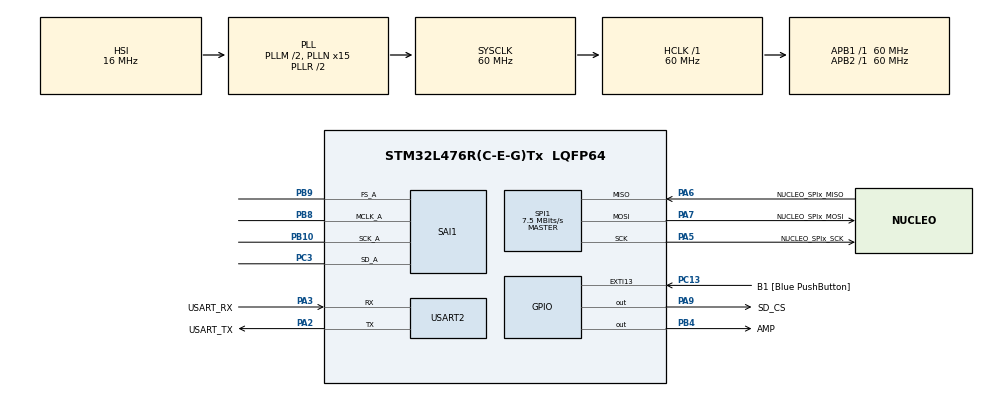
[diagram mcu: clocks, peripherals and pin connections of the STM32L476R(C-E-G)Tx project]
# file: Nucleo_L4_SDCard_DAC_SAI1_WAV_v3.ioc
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Dma.Request0=SAI1_A
Dma.SAI1_A.0.Direction=DMA_MEMORY_TO_PERIPH
Dma.SAI1_A.0.Instance=DMA2_Channel1
Dma.SAI1_A.0.MemDataAlignment=DMA_MDATAALIGN_HALFWORD
Dma.SAI1_A.0.MemInc=DMA_MINC_ENABLE
Dma.SAI1_A.0.Mode=DMA_CIRCULAR
Dma.SAI1_A.0.PeriphDataAlignment=DMA_PDATAALIGN_HALFWORD
Dma.SAI1_A.0.PeriphInc=DMA_PINC_DISABLE
Dma.SAI1_A.0.Priority=DMA_PRIORITY_HIGH
Mcu.Family=STM32L4
Mcu.Name=STM32L476R(C-E-G)Tx
Mcu.Package=LQFP64
NVIC.DMA2_Channel1_IRQn=true\:0\:0\:false\:false\:true\:false\:true
NVIC.PriorityGroup=NVIC_PRIORITYGROUP_4
PA13\ (JTMS-SWDIO).GPIO_Label=TMS
PA13\ (JTMS-SWDIO).Mode=Serial_Wire
PA13\ (JTMS-SWDIO).Signal=SYS_JTMS-SWDIO
PA14\ (JTCK-SWCLK).GPIO_Label=TCK
PA14\ (JTCK-SWCLK).Mode=Serial_Wire
PA14\ (JTCK-SWCLK).Signal=SYS_JTCK-SWCLK
PA2.GPIO_Label=USART_TX
PA2.GPIO_Mode=GPIO_MODE_AF_PP
PA2.GPIO_PuPd=GPIO_NOPULL
PA2.GPIO_Speed=GPIO_SPEED_FREQ_VERY_HIGH
PA2.Mode=Asynchronous
PA2.Signal=USART2_TX
PA3.GPIO_Label=USART_RX
PA3.GPIO_Mode=GPIO_MODE_AF_PP
PA3.GPIO_PuPd=GPIO_NOPULL
PA3.GPIO_Speed=GPIO_SPEED_FREQ_VERY_HIGH
PA3.Mode=Asynchronous
PA3.Signal=USART2_RX
PA5.GPIO_Label=NUCLEO_SPIx_SCK
PA5.Mode=Full_Duplex_Master
PA5.Signal=SPI1_SCK
PA6.GPIO_Label=NUCLEO_SPIx_MISO
PA6.Mode=Full_Duplex_Master
PA6.Signal=SPI1_MISO
PA7.GPIO_Label=NUCLEO_SPIx_MOSI
PA7.Mode=Full_Duplex_Master
PA7.Signal=SPI1_MOSI
PA9.GPIO_Label=SD_CS
PA9.Signal=GPIO_Output
PB10.Mode=SAI_A_MasterWithClock
PB10.Signal=SAI1_SCK_A
PB3\ (JTDO-TRACESWO).Signal=SYS_JTDO-SWO
PB4\ (NJTRST).GPIO_Label=AMP
PB4\ (NJTRST).Signal=GPIO_Output
PB8.Mode=SAI_A_MasterWithClock
PB8.Signal=SAI1_MCLK_A
PB9.Mode=SAI_A_MasterWithClock
PB9.Signal=SAI1_FS_A
PC13.GPIO_Label=B1 [Blue PushButton]
PC13.GPIO_ModeDefaultEXTI=GPIO_MODE_IT_FALLING
PC13.GPIO_PuPd=GPIO_NOPULL
PC13.Signal=GPXTI13
PC14-OSC32_IN\ (PC14).Mode=LSE-External-Oscillator
PC14-OSC32_IN\ (PC14).Signal=RCC_OSC32_IN
PC15-OSC32_OUT\ (PC15).Mode=LSE-External-Oscillator
PC15-OSC32_OUT\ (PC15).Signal=RCC_OSC32_OUT
PC3.Mode=SAI_A_MasterWithClock
PC3.Signal=SAI1_SD_A
PH0-OSC_IN\ (PH0).Signal=RCC_OSC_IN
PH1-OSC_OUT\ (PH1).Signal=RCC_OSC_OUT
ProjectManager.HeapSize=0x200
ProjectManager.StackSize=0x400
ProjectManager.TargetToolchain=STM32CubeIDE
RCC.ADCFreq_Value=96000000
RCC.AHBFreq_Value=60000000
RCC.APB1Freq_Value=60000000
RCC.APB1TimFreq_Value=60000000
RCC.APB2Freq_Value=60000000
RCC.APB2TimFreq_Value=60000000
RCC.CortexFreq_Value=60000000
RCC.HCLKFreq_Value=60000000
RCC.HSE_VALUE=8000000
RCC.HSI_VALUE=16000000
RCC.MSI_VALUE=4000000
RCC.PLLM=2
RCC.PLLN=15
RCC.PLLSAI1N=24
RCC.PLLSAI1P=RCC_PLLP_DIV17
RCC.PLLSAI2N=13
RCC.PLLSAI2P=RCC_PLLP_DIV17
RCC.PLLSourceVirtual=RCC_PLLSOURCE_HSI
RCC.PREFETCH_ENABLE=1
RCC.SYSCLKFreq_VALUE=60000000
RCC.SYSCLKSource=RCC_SYSCLKSOURCE_PLLCLK
RCC.USBFreq_Value=96000000
RCC.VCOOutputFreq_Value=120000000
SAI1.ActiveFrameLength-SAI_A_MasterWithClock=16
SAI1.AudioFrequency-SAI_A_MasterWithClock=SAI_AUDIO_FREQUENCY_44K
SAI1.DataSize-SAI_A_MasterWithClock=SAI_DATASIZE_16
SAI1.ErrorAudioFreq-SAI_A_MasterWithClock=0.26 %
SAI1.FIFOThreshold-SAI_A_MasterWithClock=SAI_FIFOTHRESHOLD_1QF
SAI1.FrameLength-SAI_A_MasterWithClock=32
SAI1.Instance-SAI_A_MasterWithClock=SAI$Index_Block_A
SAI1.MClockEnable-SAI_A_MasterWithClock=SAI_MASTERCLOCK_ENABLE
SAI1.OutputDrive-SAI_A_MasterWithClock=SAI_OUTPUTDRIVE_ENABLE
SAI1.RealAudioFreq-SAI_A_MasterWithClock=44.117 KHz
SAI1.SlotActive-SAI_A_MasterWithClock=0x0000FFFF
SAI1.SlotNumber-SAI_A_MasterWithClock=2
SAI1.VirtualMode-SAI_A_MasterWithClock=VM_MASTER
SAI1.VirtualSlotActive-SAI_A_MasterWithClock=SAI_SLOTACTIVE_ALL
SPI1.BaudRatePrescaler=SPI_BAUDRATEPRESCALER_8
SPI1.CalculateBaudRate=7.5 MBits/s
SPI1.DataSize=SPI_DATASIZE_8BIT
SPI1.Direction=SPI_DIRECTION_2LINES
SPI1.Mode=SPI_MODE_MASTER
SPI1.VirtualType=VM_MASTER
USART2.VirtualMode-Asynchronous=VM_ASYNC
board=NUCLEO-L476RG

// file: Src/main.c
/* USER CODE BEGIN Header */
/**
  ******************************************************************************
  * @file           : main.c
  * @brief          : Main program body
  ******************************************************************************
  * @attention
  *
  * <h2><center>&copy; Copyright (c) 2019 STMicroelectronics.
  * All rights reserved.</center></h2>
  *
  * This software component is licensed by ST under BSD 3-Clause license,
  * the "License"; You may not use this file except in compliance with the
  * License. You may obtain a copy of the License at:
  *                        opensource.org/licenses/BSD-3-Clause
  *
  ******************************************************************************
  */
/* USER CODE END Header */

#include "main.h"

/* USER CODE BEGIN Includes */
/* 1*1000/80e6 = 0.0000125s
  htim6.Init.Prescaler = 0;
  htim6.Init.Period    = 999;
  T = NS * 0.0000125 = 0.0032s avec NS=256
*/
/* tab de sinus sur 10 bits*/
uint16_t sine[]={
		     512, 525, 537, 550, 562, 575, 587, 599, 612, 624, 636, 648, 660, 672, 684, 696,
         708, 719, 730, 742, 753, 764, 775, 785, 796, 806, 816, 826, 836, 846, 855, 864,
         873, 882, 891, 899, 907, 915, 922, 930, 937, 944, 950, 957, 963, 968, 974, 979,
         984, 989, 993, 997,1001,1004,1008,1011,1013,1015,1017,1019,1021,1022,1022,1023,
        1023,1023,1022,1022,1021,1019,1017,1015,1013,1011,1008,1004,1001, 997, 993, 989,
         984, 979, 974, 968, 963, 957, 950, 944, 937, 930, 922, 915, 907, 899, 891, 882,
         873, 864, 855, 846, 836, 826, 816, 806, 796, 785, 775, 764, 753, 742, 730, 719,
         708, 696, 684, 672, 660, 648, 636, 624, 612, 599, 587, 575, 562, 550, 537, 525,
         512, 499, 487, 474, 462, 449, 437, 425, 412, 400, 388, 376, 364, 352, 340, 328,
         316, 305, 294, 282, 271, 260, 249, 239, 228, 218, 208, 198, 188, 178, 169, 160,
         151, 142, 133, 125, 117, 109, 102,  94,  87,  80,  74,  67,  61,  56,  50,  45,
          40,  35,  31,  27,  23,  20,  16,  13,  11,   9,   7,   5,   3,   2,   2,   1,
           1,   1,   2,   2,   3,   5,   7,   9,  11,  13,  16,  20,  23,  27,  31,  35,
          40,  45,  50,  56,  61,  67,  74,  80,  87,  94, 102, 109, 117, 125, 133, 142,
         151, 160, 169, 178, 188, 198, 208, 218, 228, 239, 249, 260, 271, 282, 294, 305,
         316, 328, 340, 352, 364, 376, 388, 400, 412, 425, 437, 449, 462, 474, 487, 499};

//const uint16_t NS=256;
#define NS 256
uint16_t aTxBuffer[NS];

typedef enum {
  SHIELD_NOT_DETECTED = 0,
  SHIELD_DETECTED
}ShieldStatus;

/* Private define ------------------------------------------------------------*/
#define SD_CARD_NOT_FORMATTED                    0
#define SD_CARD_FILE_NOT_SUPPORTED               1
#define SD_CARD_OPEN_FAIL                        2
#define FATFS_NOT_MOUNTED                        3
/* USER CODE END Includes */

/* USER CODE BEGIN PTD */
static void SDCard_Test(void);

/* USER CODE END PTD */

SAI_HandleTypeDef hsai_BlockA1;
DMA_HandleTypeDef hdma_sai1_a;

SPI_HandleTypeDef hspi1;

UART_HandleTypeDef huart2;

/* USER CODE BEGIN PV */
uint8_t BlinkSpeed = 0, str[20];
__IO uint8_t JoystickValue = 0;
char* pDirectoryFiles[MAX_BMP_FILES];
FIL F;     /* File object */
FATFS SD_FatFs;  /* File system object for SD card logical drive */
char SD_Path[4]; /* SD card logical drive path */
static uint8_t buffer[_MAX_SS]; /* a work buffer for the f_mkfs() */

uint8_t SerialFlag = 0;
uint8_t SerialCmd = 0;
/* USER CODE END PV */

void SystemClock_Config(void);
static void MX_GPIO_Init(void);
static void MX_DMA_Init(void);
static void MX_USART2_UART_Init(void);
static void MX_SAI1_Init(void);
static void MX_SPI1_Init(void);
/* USER CODE BEGIN PFP */

#ifdef __GNUC__
  /* With GCC, small printf (option LD Linker->Libraries->Small printf
     set to 'Yes') calls __io_putchar() */
  #define PUTCHAR_PROTOTYPE int __io_putchar(int ch)
#else
  #define PUTCHAR_PROTOTYPE int fputc(int ch, FILE *f)
#endif /* __GNUC__ */

/* Private functions ---------------------------------------------------------*/
/**
  * @brief  Retargets the C library printf function to the USART.
  * @param  None
  * @retval None
  */
PUTCHAR_PROTOTYPE
{
  /* Place your implementation of fputc here */
  /* e.g. write a character to the EVAL_COM1 and Loop until the end of transmission */
  HAL_UART_Transmit(&huart2, (uint8_t *)&ch, 1, 0xFFFF);

  return ch;
}

void HAL_UART_RxCpltCallback(UART_HandleTypeDef *huart);
/* USER CODE END PFP */

int main(void)
{

  /* MCU Configuration--------------------------------------------------------*/

  /* Reset of all peripherals, Initializes the Flash interface and the Systick. */
  HAL_Init();

  /* Configure the system clock */
  SystemClock_Config();

  /* Initialize all configured peripherals */
  MX_GPIO_Init();
  MX_DMA_Init();
  MX_USART2_UART_Init();
  MX_SAI1_Init();
  MX_SPI1_Init();
  /* USER CODE BEGIN 2 */

  printf("start\n");

  SD_IO_Init();

  if(FATFS_LinkDriver(&SD_Driver, SD_Path) == 0)
  {
    /*##-2- Register the file system object to the FatFs module ##############*/
    if(f_mount(&SD_FatFs, (TCHAR const*)SD_Path, 0) != FR_OK)
    {
      /* FatFs Initialization Error */
      Error_Handler();
    }
    else {
//   	  HAL_I2S_DMAStop ( &hi2s3 );
//   	  wave_play_back("africa-toto.WAV"); // mono
      AMP_ENABLE();
      HAL_Delay(300);
  	  wave_play_back("Track1.WAV");
  	  wave_play_back("Track2.WAV");
  	  wave_play_back("Track3.WAV");
  	  wave_play_back("Track4.WAV");
  	  wave_play_back("Track5.WAV");
  	  AMP_DISABLE();
    }
  }

//  WavePlayer_Start("SON.WAV");

  /* USER CODE END 2 */

  /* Infinite loop */
  while (1)
  {

  }
}

void SystemClock_Config(void)
{
  RCC_OscInitTypeDef RCC_OscInitStruct = {0};
  RCC_ClkInitTypeDef RCC_ClkInitStruct = {0};
  RCC_PeriphCLKInitTypeDef PeriphClkInit = {0};

  /** Initializes the CPU, AHB and APB busses clocks
  */
  RCC_OscInitStruct.OscillatorType = RCC_OSCILLATORTYPE_HSI;
  RCC_OscInitStruct.HSIState = RCC_HSI_ON;
  RCC_OscInitStruct.HSICalibrationValue = RCC_HSICALIBRATION_DEFAULT;
  RCC_OscInitStruct.PLL.PLLState = RCC_PLL_ON;
  RCC_OscInitStruct.PLL.PLLSource = RCC_PLLSOURCE_HSI;
  RCC_OscInitStruct.PLL.PLLM = 2;
  RCC_OscInitStruct.PLL.PLLN = 15;
  RCC_OscInitStruct.PLL.PLLP = RCC_PLLP_DIV7;
  RCC_OscInitStruct.PLL.PLLQ = RCC_PLLQ_DIV2;
  RCC_OscInitStruct.PLL.PLLR = RCC_PLLR_DIV2;
  if (HAL_RCC_OscConfig(&RCC_OscInitStruct) != HAL_OK)
  {
    Error_Handler();
  }
  /** Initializes the CPU, AHB and APB busses clocks
  */
  RCC_ClkInitStruct.ClockType = RCC_CLOCKTYPE_HCLK|RCC_CLOCKTYPE_SYSCLK
                              |RCC_CLOCKTYPE_PCLK1|RCC_CLOCKTYPE_PCLK2;
  RCC_ClkInitStruct.SYSCLKSource = RCC_SYSCLKSOURCE_PLLCLK;
  RCC_ClkInitStruct.AHBCLKDivider = RCC_SYSCLK_DIV1;
  RCC_ClkInitStruct.APB1CLKDivider = RCC_HCLK_DIV1;
  RCC_ClkInitStruct.APB2CLKDivider = RCC_HCLK_DIV1;

  if (HAL_RCC_ClockConfig(&RCC_ClkInitStruct, FLASH_LATENCY_3) != HAL_OK)
  {
    Error_Handler();
  }
  PeriphClkInit.PeriphClockSelection = RCC_PERIPHCLK_USART2|RCC_PERIPHCLK_SAI1;
  PeriphClkInit.Usart2ClockSelection = RCC_USART2CLKSOURCE_PCLK1;
  PeriphClkInit.Sai1ClockSelection = RCC_SAI1CLKSOURCE_PLLSAI1;
  PeriphClkInit.PLLSAI1.PLLSAI1Source = RCC_PLLSOURCE_HSI;
  PeriphClkInit.PLLSAI1.PLLSAI1M = 2;
  PeriphClkInit.PLLSAI1.PLLSAI1N = 24;
  PeriphClkInit.PLLSAI1.PLLSAI1P = RCC_PLLP_DIV17;
  PeriphClkInit.PLLSAI1.PLLSAI1Q = RCC_PLLQ_DIV2;
  PeriphClkInit.PLLSAI1.PLLSAI1R = RCC_PLLR_DIV2;
  PeriphClkInit.PLLSAI1.PLLSAI1ClockOut = RCC_PLLSAI1_SAI1CLK;
  if (HAL_RCCEx_PeriphCLKConfig(&PeriphClkInit) != HAL_OK)
  {
    Error_Handler();
  }
  /** Configure the main internal regulator output voltage
  */
  if (HAL_PWREx_ControlVoltageScaling(PWR_REGULATOR_VOLTAGE_SCALE1) != HAL_OK)
  {
    Error_Handler();
  }
}

static void MX_SAI1_Init(void)
{

  hsai_BlockA1.Instance = SAI1_Block_A;
  hsai_BlockA1.Init.Protocol = SAI_FREE_PROTOCOL;
  hsai_BlockA1.Init.AudioMode = SAI_MODEMASTER_TX;
  hsai_BlockA1.Init.DataSize = SAI_DATASIZE_16;
  hsai_BlockA1.Init.FirstBit = SAI_FIRSTBIT_MSB;
  hsai_BlockA1.Init.ClockStrobing = SAI_CLOCKSTROBING_FALLINGEDGE;
  hsai_BlockA1.Init.Synchro = SAI_ASYNCHRONOUS;
  hsai_BlockA1.Init.OutputDrive = SAI_OUTPUTDRIVE_ENABLE;
  hsai_BlockA1.Init.NoDivider = SAI_MASTERDIVIDER_ENABLE;
  hsai_BlockA1.Init.FIFOThreshold = SAI_FIFOTHRESHOLD_1QF;
  hsai_BlockA1.Init.AudioFrequency = SAI_AUDIO_FREQUENCY_44K;
  hsai_BlockA1.Init.SynchroExt = SAI_SYNCEXT_DISABLE;
  hsai_BlockA1.Init.MonoStereoMode = SAI_STEREOMODE;
  hsai_BlockA1.Init.CompandingMode = SAI_NOCOMPANDING;
  hsai_BlockA1.Init.TriState = SAI_OUTPUT_NOTRELEASED;
  hsai_BlockA1.FrameInit.FrameLength = 32;
  hsai_BlockA1.FrameInit.ActiveFrameLength = 16;
  hsai_BlockA1.FrameInit.FSDefinition = SAI_FS_STARTFRAME;
  hsai_BlockA1.FrameInit.FSPolarity = SAI_FS_ACTIVE_LOW;
  hsai_BlockA1.FrameInit.FSOffset = SAI_FS_FIRSTBIT;
  hsai_BlockA1.SlotInit.FirstBitOffset = 0;
  hsai_BlockA1.SlotInit.SlotSize = SAI_SLOTSIZE_DATASIZE;
  hsai_BlockA1.SlotInit.SlotNumber = 2;
  hsai_BlockA1.SlotInit.SlotActive = 0x0000FFFF;
  if (HAL_SAI_Init(&hsai_BlockA1) != HAL_OK)
  {
    Error_Handler();
  }

}

static void MX_SPI1_Init(void)
{

  /* SPI1 parameter configuration*/
  hspi1.Instance = SPI1;
  hspi1.Init.Mode = SPI_MODE_MASTER;
  hspi1.Init.Direction = SPI_DIRECTION_2LINES;
  hspi1.Init.DataSize = SPI_DATASIZE_8BIT;
  hspi1.Init.CLKPolarity = SPI_POLARITY_LOW;
  hspi1.Init.CLKPhase = SPI_PHASE_1EDGE;
  hspi1.Init.NSS = SPI_NSS_SOFT;
  hspi1.Init.BaudRatePrescaler = SPI_BAUDRATEPRESCALER_8;
  hspi1.Init.FirstBit = SPI_FIRSTBIT_MSB;
  hspi1.Init.TIMode = SPI_TIMODE_DISABLE;
  hspi1.Init.CRCCalculation = SPI_CRCCALCULATION_DISABLE;
  hspi1.Init.CRCPolynomial = 7;
  hspi1.Init.CRCLength = SPI_CRC_LENGTH_DATASIZE;
  hspi1.Init.NSSPMode = SPI_NSS_PULSE_ENABLE;
  if (HAL_SPI_Init(&hspi1) != HAL_OK)
  {
    Error_Handler();
  }

}

static void MX_USART2_UART_Init(void)
{

  huart2.Instance = USART2;
  huart2.Init.BaudRate = 115200;
  huart2.Init.WordLength = UART_WORDLENGTH_8B;
  huart2.Init.StopBits = UART_STOPBITS_1;
  huart2.Init.Parity = UART_PARITY_NONE;
  huart2.Init.Mode = UART_MODE_TX_RX;
  huart2.Init.HwFlowCtl = UART_HWCONTROL_NONE;
  huart2.Init.OverSampling = UART_OVERSAMPLING_16;
  huart2.Init.OneBitSampling = UART_ONE_BIT_SAMPLE_DISABLE;
  huart2.AdvancedInit.AdvFeatureInit = UART_ADVFEATURE_NO_INIT;
  if (HAL_UART_Init(&huart2) != HAL_OK)
  {
    Error_Handler();
  }

}

static void MX_DMA_Init(void)
{

  /* DMA controller clock enable */
  __HAL_RCC_DMA2_CLK_ENABLE();

  /* DMA interrupt init */
  /* DMA2_Channel1_IRQn interrupt configuration */
  HAL_NVIC_SetPriority(DMA2_Channel1_IRQn, 0, 0);
  HAL_NVIC_EnableIRQ(DMA2_Channel1_IRQn);

}

static void MX_GPIO_Init(void)
{
  GPIO_InitTypeDef GPIO_InitStruct = {0};

  /* GPIO Ports Clock Enable */
  __HAL_RCC_GPIOC_CLK_ENABLE();
  __HAL_RCC_GPIOH_CLK_ENABLE();
  __HAL_RCC_GPIOA_CLK_ENABLE();
  __HAL_RCC_GPIOB_CLK_ENABLE();

  /*Configure GPIO pin Output Level */
  HAL_GPIO_WritePin(SD_CS_GPIO_Port, SD_CS_Pin, GPIO_PIN_RESET);

  /*Configure GPIO pin Output Level */
  HAL_GPIO_WritePin(AMP_GPIO_Port, AMP_Pin, GPIO_PIN_RESET);

  /*Configure GPIO pin : B1_Pin */
  GPIO_InitStruct.Pin = B1_Pin;
  GPIO_InitStruct.Mode = GPIO_MODE_IT_FALLING;
  GPIO_InitStruct.Pull = GPIO_NOPULL;
  HAL_GPIO_Init(B1_GPIO_Port, &GPIO_InitStruct);

  /*Configure GPIO pin : SD_CS_Pin */
  GPIO_InitStruct.Pin = SD_CS_Pin;
  GPIO_InitStruct.Mode = GPIO_MODE_OUTPUT_PP;
  GPIO_InitStruct.Pull = GPIO_NOPULL;
  GPIO_InitStruct.Speed = GPIO_SPEED_FREQ_LOW;
  HAL_GPIO_Init(SD_CS_GPIO_Port, &GPIO_InitStruct);

  /*Configure GPIO pin : AMP_Pin */
  GPIO_InitStruct.Pin = AMP_Pin;
  GPIO_InitStruct.Mode = GPIO_MODE_OUTPUT_PP;
  GPIO_InitStruct.Pull = GPIO_NOPULL;
  GPIO_InitStruct.Speed = GPIO_SPEED_FREQ_LOW;
  HAL_GPIO_Init(AMP_GPIO_Port, &GPIO_InitStruct);

}

/* USER CODE BEGIN 4 */

void HAL_UART_RxCpltCallback(UART_HandleTypeDef *huart)
{
	if(huart->Instance == USART2)
	{
		SerialFlag = 1;
		HAL_UART_Receive_IT(&huart2, &SerialCmd, 1);
	}
}

static void SDCard_Test(void){
	FRESULT res;                                          /* FatFs function common result code */
	uint32_t byteswritten, bytesread;                     /* File write/read counts */
	uint8_t wtext[] = "This is STM32 Sparfun Board working with FatFs"; /* File write buffer */
	uint8_t rtext[100];                                   /* File read buffer */

	/*##-1- Link the SD disk I/O driver ########################################*/
	if(FATFS_LinkDriver(&SD_Driver, SD_Path) == 0)
	{
		/*##-2- Register the file system object to the FatFs module ##############*/
		if(f_mount(&SD_FatFs, (TCHAR const*)SD_Path, 0) != FR_OK)
		{
			/* FatFs Initialization Error */
			Error_Handler();
		}
		else
		{
			/*##-3- Create a FAT file system (format) on the logical drive #########*/
			if(f_mkfs((TCHAR const*)SD_Path, FM_ANY, 0, buffer, sizeof(buffer)) != FR_OK)
			{
				Error_Handler();
			}
			else
			{
				/*##-4- Create and Open a new text file object with write access #####*/
				if(f_open(&F, "STM32.TXT", FA_CREATE_ALWAYS | FA_WRITE) != FR_OK)
				{
					/* 'STM32.TXT' file Open for write Error */
					Error_Handler();
				}
				else
				{
					/*##-5- Write data to the text file ################################*/
					res = f_write(&F, wtext, sizeof(wtext), (void *)&byteswritten);

					if((byteswritten == 0) || (res != FR_OK))
					{
						/* 'STM32.TXT' file Write or EOF Error */
						Error_Handler();
					}
					else
					{
						/*##-6- Close the open text file #################################*/
						f_close(&F);

						/*##-7- Open the text file object with read access ###############*/
						if(f_open(&F, "STM32.TXT", FA_READ) != FR_OK)
						{
							/* 'STM32.TXT' file Open for read Error */
							Error_Handler();
						}
						else
						{
							/*##-8- Read data from the text file ###########################*/
							res = f_read(&F, rtext, sizeof(rtext), (UINT*)&bytesread);

							if((bytesread == 0) || (res != FR_OK)) /* EOF or Error */
							{
								/* 'STM32.TXT' file Read or EOF Error */
								Error_Handler();
							}
							else
							{
								/*##-9- Close the open text file #############################*/
								f_close(&F);

								/*##-10- Compare read data with the expected data ############*/
								if ((bytesread != byteswritten))
								{
									/* Read data is different from the expected data */
									Error_Handler();
								}
								else
								{
									/* Success of the demo: no error occurrence */
									//BSP_LED_On(LED2);
								}
							}
						}
					}
				}
			}
		}
	}

	/*##-11- Unlink the SD disk I/O driver ####################################*/
	FATFS_UnLinkDriver(SD_Path);
}

/**
  * @brief  Initializes the SD Card and put it into StandBy State (Ready for
  *         data transfer).
  */
void SD_IO_Init(void)
{
  GPIO_InitTypeDef  GPIO_InitStruct;
  uint8_t counter;

  /* SD_CS_GPIO Periph clock enable */
  SD_CS_GPIO_CLK_ENABLE();

  /* Configure SD_CS_PIN pin: SD Card CS pin */
  GPIO_InitStruct.Pin = SD_CS_Pin;
  GPIO_InitStruct.Mode = GPIO_MODE_OUTPUT_PP;
  GPIO_InitStruct.Pull = GPIO_PULLUP;
  GPIO_InitStruct.Speed = GPIO_SPEED_HIGH;
  HAL_GPIO_Init(SD_CS_GPIO_Port, &GPIO_InitStruct);

  /*------------Put SD in SPI mode--------------*/
  /* SD SPI Config */
  MX_SPI1_Init();

  /* SD chip select high */
  SD_CS_HIGH();

  /* Send dummy byte 0xFF, 10 times with CS high */
  /* Rise CS and MOSI for 80 clocks cycles */
  for (counter = 0; counter <= 9; counter++)
  {
    /* Send dummy byte 0xFF */
    SD_IO_WriteByte(SD_DUMMY_BYTE);
  }
}

/**
  * @brief Set the SD_CS pin.
  * @param val: pin value.
  */
void SD_IO_CSState(uint8_t val)
{
  if(val == 1)
  {
    SD_CS_HIGH();
  }
  else
  {
    SD_CS_LOW();
  }
}

/**
  * @brief  SPI error treatment function.
  */
static void SPIx_Error (void)
{
  /* De-initialize the SPI communication BUS */
  HAL_SPI_DeInit(&hspi1);

  /* Re-Initiaize the SPI communication BUS */
  MX_SPI1_Init();
}

/**
  * @brief  SPI Write a byte to device.
  * @param  Value: value to be written
  */
static void SPIx_Write(uint8_t Value)
{
  HAL_StatusTypeDef status = HAL_OK;
  uint8_t data;

  status = HAL_SPI_TransmitReceive(&hspi1, (uint8_t*) &Value, &data, 1, SPIx_TIMEOUT_MAX);

  /* Check the communication status */
  if(status != HAL_OK)
  {
    /* Execute user timeout callback */
    SPIx_Error();
  }
}

/**
  * @brief  SPI Write a byte to device
  * @param  DataIn: value to be written
  * @param  DataOut: value to be read
  * @param  DataLegnth: length of data
  */
static void SPIx_WriteReadData(const uint8_t *DataIn, uint8_t *DataOut, uint16_t DataLegnth)
{
  HAL_StatusTypeDef status = HAL_OK;

  status = HAL_SPI_TransmitReceive(&hspi1, (uint8_t*) DataIn, DataOut, DataLegnth, SPIx_TIMEOUT_MAX);

  /* Check the communication status */
  if(status != HAL_OK)
  {
    /* Execute user timeout callback */
    SPIx_Error();
  }
}
/**
  * @brief Write a byte on the SD.
  * @param  DataIn: value to be written
  * @param  DataOut: value to be read
  * @param  DataLength: length of data
  */
void SD_IO_WriteReadData(const uint8_t *DataIn, uint8_t *DataOut, uint16_t DataLength)
{
  /* Send the byte */
  SPIx_WriteReadData(DataIn, DataOut, DataLength);
}

/**
  * @brief  Writes a byte on the SD.
  * @param  Data: byte to send.
  */
uint8_t SD_IO_WriteByte(uint8_t Data)
{
  uint8_t tmp;
  /* Send the byte */
  SPIx_WriteReadData(&Data,&tmp,1);
  return tmp;
}
/* USER CODE END 4 */

void Error_Handler(void)
{
}

/************************ (C) COPYRIGHT STMicroelectronics *****END OF FILE****/
